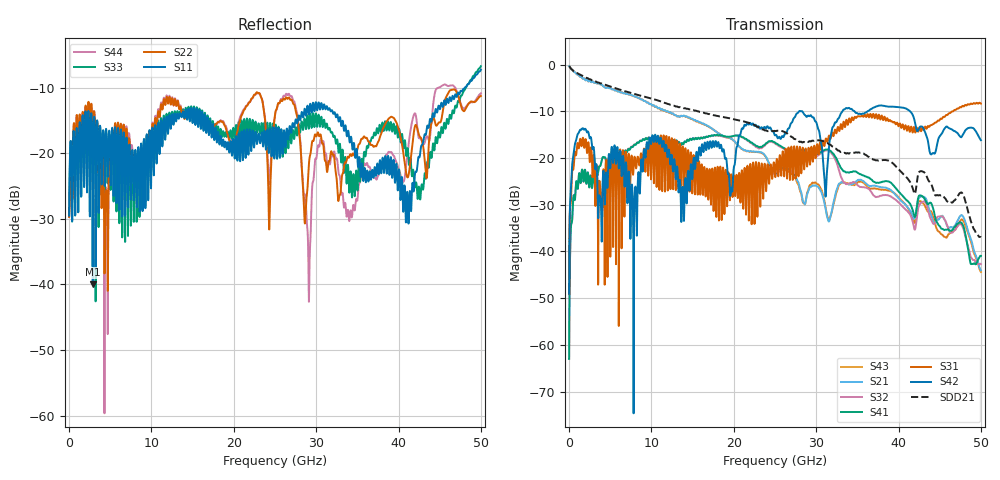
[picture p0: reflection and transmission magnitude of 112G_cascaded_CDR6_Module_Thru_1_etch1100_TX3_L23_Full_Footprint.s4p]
! Created Tue Feb 26 13:54:34 2019
# hz S ma R 50
! 4 Port Network Data from SP1.SP block
! freq  magS11  angS11  magS12  angS12  magS13  angS13  magS14  angS14
!  magS21  angS21  magS22  angS22  magS23  angS23  magS24  angS24
!  magS31  angS31  magS32  angS32  magS33  angS33  magS34  angS34
!  magS41  angS41  magS42  angS42  magS43  angS43  magS44  angS44
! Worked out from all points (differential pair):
!   5000 points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, 10 MHz to 50 GHz, reference 50 ohm
!   strongest paths, dB at 10 MHz, 12.51 GHz, 25.01 GHz, 37.51 GHz, 50 GHz:
!     S42: -49.1, -20.1, -15.1, -8.8, -16.1
!     S31: -49.1, -16.1, -23.7, -11.3, -8.3
!     S41: -63.0, -16.6, -16.7, -25.3, -40.9
!     S32: -63.0, -16.6, -16.8, -28.3, -42.7
!     S21: -0.3, -10.4, -23.4, -26.1, -44.0
!     S43: -0.3, -10.5, -23.3, -26.6, -44.4
!   taken as a pair (ports 1,3 in; 2,4 out), SDD21 dB: -0.3, -8.7, -14.2, -20.5, -37.0
!   lowest |S11| = -40.0 dB at 2.88 GHz (marker M1), VSWR 1.02, Z = 49.2 - j0.605 ohm
!   |S11| at or under -10 dB: start of sweep to 48.05 GHz
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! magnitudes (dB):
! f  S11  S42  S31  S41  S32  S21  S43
! 10 MHz  -29.5  -49.1  -49.1  -63.0  -63.0  -0.3  -0.3
! 710 MHz  -25.7  -17.0  -18.7  -28.9  -29.0  -1.6  -1.6
! 2.88 GHz  -40.0  -18.0  -23.6  -24.7  -24.7  -3.6  -3.6
! 26.83 GHz  -15.9  -13.0  -24.5  -18.5  -18.7  -22.4  -23.0
! 29.12 GHz  -14.0  -11.0  -18.1  -19.3  -20.0  -26.7  -26.3
! 41.07 GHz  -25.9  -9.5  -13.9  -29.1  -31.3  -30.4  -30.5
! 50 GHz  -7.2  -16.1  -8.3  -40.9  -42.7  -44.0  -44.4
